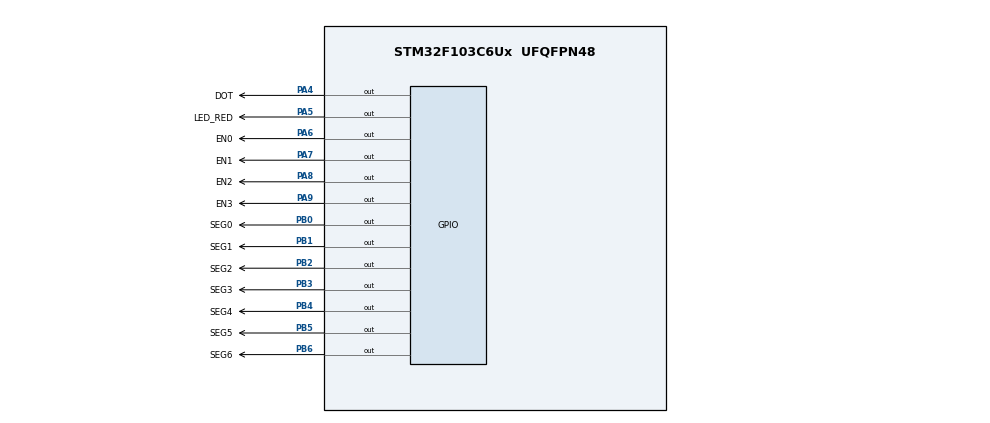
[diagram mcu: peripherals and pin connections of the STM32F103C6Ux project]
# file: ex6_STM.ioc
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Mcu.Family=STM32F1
Mcu.Name=STM32F103C6Ux
Mcu.Package=UFQFPN48
NVIC.PriorityGroup=NVIC_PRIORITYGROUP_4
NVIC.TIM2_IRQn=true\:0\:0\:false\:false\:true\:true\:true
PA4.GPIO_Label=DOT
PA4.Signal=GPIO_Output
PA5.GPIO_Label=LED_RED
PA5.Signal=GPIO_Output
PA6.GPIO_Label=EN0
PA6.Signal=GPIO_Output
PA7.GPIO_Label=EN1
PA7.Signal=GPIO_Output
PA8.GPIO_Label=EN2
PA8.Signal=GPIO_Output
PA9.GPIO_Label=EN3
PA9.Signal=GPIO_Output
PB0.GPIO_Label=SEG0
PB0.Signal=GPIO_Output
PB1.GPIO_Label=SEG1
PB1.Signal=GPIO_Output
PB2.GPIO_Label=SEG2
PB2.Signal=GPIO_Output
PB3.GPIO_Label=SEG3
PB3.Signal=GPIO_Output
PB4.GPIO_Label=SEG4
PB4.Signal=GPIO_Output
PB5.GPIO_Label=SEG5
PB5.Signal=GPIO_Output
PB6.GPIO_Label=SEG6
PB6.Signal=GPIO_Output
ProjectManager.HeapSize=0x200
ProjectManager.StackSize=0x400
ProjectManager.TargetToolchain=STM32CubeIDE
RCC.APB1Freq_Value=8000000
RCC.APB2Freq_Value=8000000
TIM2.Period=9
TIM2.Prescaler=7999
VP_SYS_VS_ND.Mode=No_Debug
VP_TIM2_VS_ClockSourceINT.Mode=Internal
board=custom

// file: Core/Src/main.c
/* USER CODE BEGIN Header */
/**
  ******************************************************************************
  * @file           : main.c
  * @brief          : Main program body
  ******************************************************************************
  * @attention
  *
  * <h2><center>&copy; Copyright (c) 2022 STMicroelectronics.
  * All rights reserved.</center></h2>
  *
  * This software component is licensed by ST under BSD 3-Clause license,
  * the "License"; You may not use this file except in compliance with the
  * License. You may obtain a copy of the License at:
  *                        opensource.org/licenses/BSD-3-Clause
  *
  ******************************************************************************
  */
/* USER CODE END Header */
#include "main.h"

TIM_HandleTypeDef htim2;

void SystemClock_Config(void);
static void MX_GPIO_Init(void);
static void MX_TIM2_Init(void);

/* USER CODE BEGIN 0 */
uint8_t segmentNumber[10] = {
        0x3f,  // 0
        0x06,  // 1
        0x5b,  // 2
        0x4f,  // 3
        0x66,  // 4
        0x6d,  // 5
        0x7d,  // 6
        0x07,  // 7
        0x7f,  // 8
        0x67   // 9
};

void display7SEG(uint8_t number){
	HAL_GPIO_WritePin(SEG0_GPIO_Port, SEG0_Pin, ((number>>0)&0x01)^0x01);
	HAL_GPIO_WritePin(SEG1_GPIO_Port, SEG1_Pin, ((number>>1)&0x01)^0x01);
	HAL_GPIO_WritePin(SEG2_GPIO_Port, SEG2_Pin, ((number>>2)&0x01)^0x01);
	HAL_GPIO_WritePin(SEG3_GPIO_Port, SEG3_Pin, ((number>>3)&0x01)^0x01);
	HAL_GPIO_WritePin(SEG4_GPIO_Port, SEG4_Pin, ((number>>4)&0x01)^0x01);
	HAL_GPIO_WritePin(SEG5_GPIO_Port, SEG5_Pin, ((number>>5)&0x01)^0x01);
	HAL_GPIO_WritePin(SEG6_GPIO_Port, SEG6_Pin, ((number>>6)&0x01)^0x01);
}
int led_buffer[4] = {1, 2, 3, 4};

void updateClockBuffer(int hour, int minute){
	led_buffer[0] = hour/10;
	led_buffer[1] = hour%10;
	led_buffer[2] = minute/10;
	led_buffer[3] = minute%10;
}
int timer0_counter = 1;
int timer0_flag = 0;
int TIMER_CYCLE = 10;
void setTimer0 (int duration) {
	timer0_counter = duration/TIMER_CYCLE ;
	timer0_flag = 0;
}
void timer_run () {
	if( timer0_counter > 0) {
		timer0_counter--;
	}
	if( timer0_counter == 0) timer0_flag = 1;
}
/* USER CODE END 0 */

int main(void)
{

  /* MCU Configuration--------------------------------------------------------*/

  /* Reset of all peripherals, Initializes the Flash interface and the Systick. */
  HAL_Init();

  /* Configure the system clock */
  SystemClock_Config();

  /* Initialize all configured peripherals */
  MX_GPIO_Init();
  MX_TIM2_Init();
  /* USER CODE BEGIN 2 */
  HAL_TIM_Base_Start_IT(&htim2);
  /* USER CODE END 2 */

  /* Infinite loop */
  /* USER CODE BEGIN WHILE */
  int hour = 15, minute = 8, second = 50;
  setTimer0(1000);
  while (1)
  {
	  if (timer0_flag == 1) {
		  second++;
		  if(second >= 60) {
			  second = 0;
			  minute++;
		  }
		  if(minute >= 60) {
			  minute = 0;
			  hour++;
		  }
		  if(hour>= 24) {
			  hour = 0;
		  }
		  setTimer0(2000);
	  }
	  updateClockBuffer(hour, minute);
    /* USER CODE END WHILE */

  }
}

void SystemClock_Config(void)
{
  RCC_OscInitTypeDef RCC_OscInitStruct = {0};
  RCC_ClkInitTypeDef RCC_ClkInitStruct = {0};

  /** Initializes the RCC Oscillators according to the specified parameters
  * in the RCC_OscInitTypeDef structure.
  */
  RCC_OscInitStruct.OscillatorType = RCC_OSCILLATORTYPE_HSI;
  RCC_OscInitStruct.HSIState = RCC_HSI_ON;
  RCC_OscInitStruct.HSICalibrationValue = RCC_HSICALIBRATION_DEFAULT;
  RCC_OscInitStruct.PLL.PLLState = RCC_PLL_NONE;
  if (HAL_RCC_OscConfig(&RCC_OscInitStruct) != HAL_OK)
  {
    Error_Handler();
  }
  /** Initializes the CPU, AHB and APB buses clocks
  */
  RCC_ClkInitStruct.ClockType = RCC_CLOCKTYPE_HCLK|RCC_CLOCKTYPE_SYSCLK
                              |RCC_CLOCKTYPE_PCLK1|RCC_CLOCKTYPE_PCLK2;
  RCC_ClkInitStruct.SYSCLKSource = RCC_SYSCLKSOURCE_HSI;
  RCC_ClkInitStruct.AHBCLKDivider = RCC_SYSCLK_DIV1;
  RCC_ClkInitStruct.APB1CLKDivider = RCC_HCLK_DIV1;
  RCC_ClkInitStruct.APB2CLKDivider = RCC_HCLK_DIV1;

  if (HAL_RCC_ClockConfig(&RCC_ClkInitStruct, FLASH_LATENCY_0) != HAL_OK)
  {
    Error_Handler();
  }
}

static void MX_TIM2_Init(void)
{

  TIM_ClockConfigTypeDef sClockSourceConfig = {0};
  TIM_MasterConfigTypeDef sMasterConfig = {0};

  htim2.Instance = TIM2;
  htim2.Init.Prescaler = 7999;
  htim2.Init.CounterMode = TIM_COUNTERMODE_UP;
  htim2.Init.Period = 9;
  htim2.Init.ClockDivision = TIM_CLOCKDIVISION_DIV1;
  htim2.Init.AutoReloadPreload = TIM_AUTORELOAD_PRELOAD_DISABLE;
  if (HAL_TIM_Base_Init(&htim2) != HAL_OK)
  {
    Error_Handler();
  }
  sClockSourceConfig.ClockSource = TIM_CLOCKSOURCE_INTERNAL;
  if (HAL_TIM_ConfigClockSource(&htim2, &sClockSourceConfig) != HAL_OK)
  {
    Error_Handler();
  }
  sMasterConfig.MasterOutputTrigger = TIM_TRGO_RESET;
  sMasterConfig.MasterSlaveMode = TIM_MASTERSLAVEMODE_DISABLE;
  if (HAL_TIMEx_MasterConfigSynchronization(&htim2, &sMasterConfig) != HAL_OK)
  {
    Error_Handler();
  }

}

static void MX_GPIO_Init(void)
{
  GPIO_InitTypeDef GPIO_InitStruct = {0};

  /* GPIO Ports Clock Enable */
  __HAL_RCC_GPIOA_CLK_ENABLE();
  __HAL_RCC_GPIOB_CLK_ENABLE();

  /*Configure GPIO pin Output Level */
  HAL_GPIO_WritePin(GPIOA, DOT_Pin|LED_RED_Pin|EN0_Pin|EN1_Pin
                          |EN2_Pin|EN3_Pin, GPIO_PIN_RESET);

  /*Configure GPIO pin Output Level */
  HAL_GPIO_WritePin(GPIOB, SEG0_Pin|SEG1_Pin|SEG2_Pin|SEG3_Pin
                          |SEG4_Pin|SEG5_Pin|SEG6_Pin, GPIO_PIN_RESET);

  /*Configure GPIO pins : DOT_Pin LED_RED_Pin EN0_Pin EN1_Pin
                           EN2_Pin EN3_Pin */
  GPIO_InitStruct.Pin = DOT_Pin|LED_RED_Pin|EN0_Pin|EN1_Pin
                          |EN2_Pin|EN3_Pin;
  GPIO_InitStruct.Mode = GPIO_MODE_OUTPUT_PP;
  GPIO_InitStruct.Pull = GPIO_NOPULL;
  GPIO_InitStruct.Speed = GPIO_SPEED_FREQ_LOW;
  HAL_GPIO_Init(GPIOA, &GPIO_InitStruct);

  /*Configure GPIO pins : SEG0_Pin SEG1_Pin SEG2_Pin SEG3_Pin
                           SEG4_Pin SEG5_Pin SEG6_Pin */
  GPIO_InitStruct.Pin = SEG0_Pin|SEG1_Pin|SEG2_Pin|SEG3_Pin
                          |SEG4_Pin|SEG5_Pin|SEG6_Pin;
  GPIO_InitStruct.Mode = GPIO_MODE_OUTPUT_PP;
  GPIO_InitStruct.Pull = GPIO_NOPULL;
  GPIO_InitStruct.Speed = GPIO_SPEED_FREQ_LOW;
  HAL_GPIO_Init(GPIOB, &GPIO_InitStruct);

}

/* USER CODE BEGIN 4 */
const int MAX_LED = 4;
int index_led = 0;
//int led_buffer[4] = {1, 2, 3, 4};
void update7SEG(int index){
	switch (index){
		case 0:{
			HAL_GPIO_WritePin(GPIOA, EN1_Pin|EN2_Pin
								|EN3_Pin, GPIO_PIN_SET);
			HAL_GPIO_WritePin(EN0_GPIO_Port, EN0_Pin, RESET);
			display7SEG(segmentNumber[led_buffer[0]]);
//			index = 1;
			break;
		}
		case 1:{
			HAL_GPIO_WritePin(GPIOA, EN0_Pin|EN2_Pin
								|EN3_Pin, GPIO_PIN_SET);
			HAL_GPIO_WritePin(EN1_GPIO_Port, EN1_Pin, RESET);
			display7SEG(segmentNumber[led_buffer[1]]);
//			index = 2;
			break;
		}
		case 2:{
			HAL_GPIO_WritePin(GPIOA, EN0_Pin|EN1_Pin
								|EN3_Pin, GPIO_PIN_SET);
			HAL_GPIO_WritePin(EN2_GPIO_Port, EN2_Pin, RESET);
			display7SEG(segmentNumber[led_buffer[2]]);
//			index = 3;
			break;
		}
		case 3:{
			HAL_GPIO_WritePin(GPIOA, EN0_Pin|EN2_Pin
								|EN1_Pin, GPIO_PIN_SET);
			HAL_GPIO_WritePin(EN3_GPIO_Port, EN3_Pin, RESET);
			display7SEG(segmentNumber[led_buffer[3]]);
			index_led = 0;
			break;
		}
	}
}

int counter = 100;
int led_counter = 25;
void HAL_TIM_PeriodElapsedCallback ( TIM_HandleTypeDef * htim ){
		timer_run();
		led_counter--;
		counter--;
		if (counter <= 0) {
			counter = 100;
			HAL_GPIO_TogglePin(DOT_GPIO_Port, DOT_Pin);
			HAL_GPIO_TogglePin(LED_RED_GPIO_Port, LED_RED_Pin);
		}
		if(led_counter <= 0){
			led_counter = 25;
			update7SEG(index_led++);
		}
}
/* USER CODE END 4 */

void Error_Handler(void)
{
  __disable_irq();
  while (1)
  {
  }
}

/************************ (C) COPYRIGHT STMicroelectronics *****END OF FILE****/
